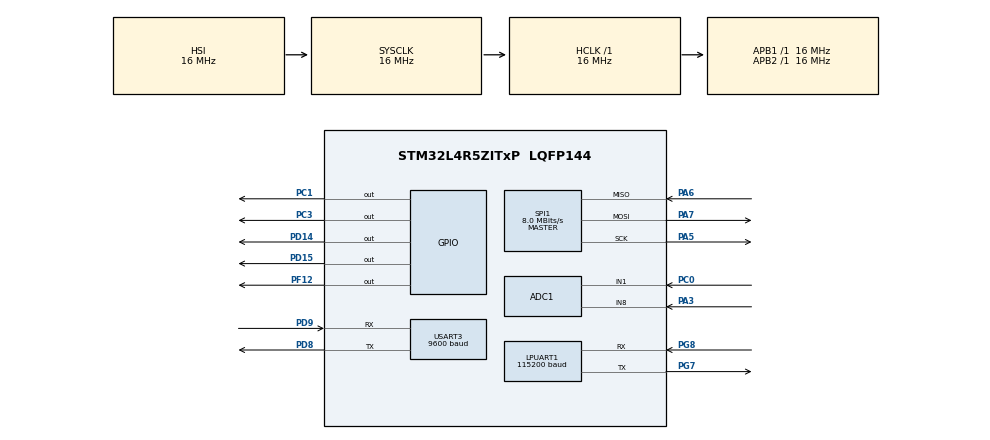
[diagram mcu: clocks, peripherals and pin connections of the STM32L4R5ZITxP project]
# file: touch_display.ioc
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ADC1.Channel-0\#ChannelRegularConversion=ADC_CHANNEL_1
ADC1.ClockPrescaler=ADC_CLOCK_ASYNC_DIV8
ADC1.DMAContinuousRequests=DISABLE
ADC1.NbrOfConversion=1
ADC1.NbrOfConversionFlag=1
ADC1.OffsetNumber-0\#ChannelRegularConversion=ADC_OFFSET_NONE
ADC1.Rank-0\#ChannelRegularConversion=1
ADC1.SamplingTime-0\#ChannelRegularConversion=ADC_SAMPLETIME_47CYCLES_5
ADC1.master=1
LPUART1.BaudRate=115200
LPUART1.WordLength=UART_WORDLENGTH_8B
Mcu.Family=STM32L4
Mcu.Name=STM32L4R5ZITxP
Mcu.Package=LQFP144
NVIC.PriorityGroup=NVIC_PRIORITYGROUP_4
PA0.Signal=S_TIM2_CH1
PA1.Signal=ADCx_IN6
PA10.Signal=USB_OTG_FS_ID
PA13\ (JTMS/SWDIO).Signal=SYS_JTMS-SWDIO
PA14\ (JTCK/SWCLK).Signal=SYS_JTCK-SWCLK
PA3.Signal=ADCx_IN8
PA4.Signal=SPI1_NSS
PA5.Mode=Full_Duplex_Master
PA5.Signal=SPI1_SCK
PA6.Mode=Full_Duplex_Master
PA6.Signal=SPI1_MISO
PA7.Mode=Full_Duplex_Master
PA7.Signal=SPI1_MOSI
PA8.Signal=USB_OTG_FS_SOF
PA9.Signal=USB_OTG_FS_VBUS
PB0.Signal=S_TIM3_CH3
PB1.Signal=ADCx_IN16
PB10.Signal=S_TIM2_CH3
PB12.Signal=SAI2_FS_A
PB13.Signal=SAI2_SCK_A
PB14.Signal=S_TIM15_CH1
PB15.Signal=SAI2_SD_A
PB2.Signal=COMP1_INP
PB3\ (JTDO/TRACESWO).Signal=SPI3_SCK
PB4\ (NJTRST).Signal=SPI3_MISO
PB5.Signal=SPI3_MOSI
PB6.Signal=COMP2_INP
PB8.Signal=I2C1_SCL
PB9.Signal=I2C1_SDA
PC0.Signal=ADCx_IN1
PC1.Signal=GPIO_Output
PC10.Signal=SDMMC1_D2
PC11.Signal=SDMMC1_D3
PC12.Signal=SDMMC1_CK
PC13.Signal=SYS_WKUP2
PC14-OSC32_IN\ (PC14).Signal=RCC_OSC32_IN
PC15-OSC32_OUT\ (PC15).Signal=RCC_OSC32_OUT
PC2.Signal=ADCx_IN3
PC3.Signal=GPIO_Output
PC4.Signal=ADCx_IN13
PC5.Signal=ADCx_IN14
PC6.Signal=SAI2_MCLK_A
PC7.Signal=S_TIM3_CH2
PC8.Signal=SDMMC1_D0
PC9.Signal=SDMMC1_D1
PD0.Signal=CAN1_RX
PD14.GPIO_PuPd=GPIO_NOPULL
PD14.PinState=GPIO_PIN_SET
PD14.Signal=GPIO_Output
PD15.PinState=GPIO_PIN_SET
PD15.Signal=GPIO_Output
PD2.Signal=SDMMC1_CMD
PD3.Signal=USART2_CTS
PD4.Signal=USART2_RTS
PD5.Signal=USART2_TX
PD6.Signal=USART2_RX
PD8.Mode=Asynchronous
PD8.Signal=USART3_TX
PD9.Mode=Asynchronous
PD9.Signal=USART3_RX
PE0.Signal=S_TIM4_ETR
PE10.Signal=TIM1_CH2N
PE11.Signal=S_TIM1_CH2
PE12.Signal=TIM1_CH3N
PE13.Signal=S_TIM1_CH3
PE14.Signal=TIM1_BKIN2
PE15.Signal=TIM1_BKIN
PE2.Signal=SAI1_MCLK_A
PE3.Signal=SAI1_SD_B
PE7.Signal=S_TIM1_ETR
PE8.Signal=TIM1_CH1N
PE9.Signal=S_TIM1_CH1
PF0.Signal=I2C2_SDA
PF1.Signal=I2C2_SCL
PF12.PinState=GPIO_PIN_SET
PF12.Signal=GPIO_Output
PF2.Signal=I2C2_SMBA
PF7.Signal=SAI1_MCLK_B
PG7.Mode=Asynchronous
PG7.Signal=LPUART1_TX
PG8.Mode=Asynchronous
PG8.Signal=LPUART1_RX
PH0-OSC_IN\ (PH0).Signal=RCC_OSC_IN
PH1-OSC_OUT\ (PH1).Signal=RCC_OSC_OUT
ProjectManager.HeapSize=0x200
ProjectManager.StackSize=0x400
ProjectManager.TargetToolchain=STM32CubeIDE
RCC.ADCFreq_Value=32000000
RCC.AHBFreq_Value=16000000
RCC.APB1Freq_Value=16000000
RCC.APB1TimFreq_Value=16000000
RCC.APB2Freq_Value=16000000
RCC.APB2TimFreq_Value=16000000
RCC.CortexFreq_Value=16000000
RCC.HCLKFreq_Value=16000000
RCC.HSE_VALUE=8000000
RCC.HSI48_VALUE=48000000
RCC.HSI_VALUE=16000000
RCC.LSE_VALUE=32768
RCC.MSI_VALUE=4000000
RCC.PLLSAI1N=16
RCC.SYSCLKFreq_VALUE=16000000
RCC.SYSCLKSource=RCC_SYSCLKSOURCE_HSI
RCC.USBFreq_Value=32000000
RCC.VCOOutputFreq_Value=32000000
SH.ADCx_IN1.0=ADC1_IN1,IN1-Single-Ended
SH.ADCx_IN13.0=ADC1_IN13
SH.ADCx_IN14.0=ADC1_IN14
SH.ADCx_IN16.0=ADC1_IN16
SH.ADCx_IN3.0=ADC1_IN3
SH.ADCx_IN6.0=ADC1_IN6
SH.ADCx_IN8.0=ADC1_IN8,IN8-Single-Ended
SH.S_TIM15_CH1.0=TIM15_CH1
SH.S_TIM1_CH1.0=TIM1_CH1
SH.S_TIM1_CH2.0=TIM1_CH2
SH.S_TIM1_CH3.0=TIM1_CH3
SH.S_TIM1_ETR.0=TIM1_ETR
SH.S_TIM2_CH1.0=TIM2_CH1
SH.S_TIM2_CH3.0=TIM2_CH3
SH.S_TIM3_CH2.0=TIM3_CH2
SH.S_TIM3_CH3.0=TIM3_CH3
SH.S_TIM4_ETR.0=TIM4_ETR
SPI1.BaudRatePrescaler=SPI_BAUDRATEPRESCALER_2
SPI1.CalculateBaudRate=8.0 MBits/s
SPI1.DataSize=SPI_DATASIZE_8BIT
SPI1.Direction=SPI_DIRECTION_2LINES
SPI1.Mode=SPI_MODE_MASTER
SPI1.VirtualType=VM_MASTER
USART3.BaudRate=9600
USART3.VirtualMode-Asynchronous=VM_ASYNC
board=NUCLEO-L4R5ZI-P

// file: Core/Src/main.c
/* USER CODE BEGIN Header */
/**
 ******************************************************************************
 * @file           : main.c
 * @brief          : Main program body
 ******************************************************************************
 * @attention
 *
 * Copyright (c) 2024 STMicroelectronics.
 * All rights reserved.
 *
 * This software is licensed under terms that can be found in the LICENSE file
 * in the root directory of this software component.
 * If no LICENSE file comes with this software, it is provided AS-IS.
 *
 ******************************************************************************
 */
/* USER CODE END Header */
#include "main.h"
#include "hx8357_stm32.h"
#include "stdio.h"
#include "touch.h"
#include "xbee.h"
#include <stdbool.h>

ADC_HandleTypeDef hadc1;

UART_HandleTypeDef hlpuart1;
UART_HandleTypeDef huart3;

SPI_HandleTypeDef hspi1;

void SystemClock_Config(void);
static void MX_GPIO_Init(void);
static void MX_SPI1_Init(void);
static void MX_LPUART1_UART_Init(void);
static void MX_ADC1_Init(void);
static void MX_USART3_UART_Init(void);
/* USER CODE BEGIN PFP */
Touch_Calibration touch_cal;
Zumo_Calibration zumo_cal;
/* USER CODE END PFP */

int main(void)
{

    /* MCU Configuration--------------------------------------------------------*/

    /* Reset of all peripherals, Initializes the Flash interface and the Systick. */
    HAL_Init();

    /* Configure the system clock */
    SystemClock_Config();

    /* Initialize all configured peripherals */
    MX_GPIO_Init();
    MX_SPI1_Init();
    MX_LPUART1_UART_Init();
    MX_ADC1_Init();
    MX_USART3_UART_Init();
    /* USER CODE BEGIN 2 */
    bool robot_draw = true; // Toggle between accurate LCD and what robot will draw
    HX8357_HandleTypeDef display = {
        .hspi = &hspi1,
        .cs_port = GPIOD,
        .cs_pin = GPIO_PIN_14,
        .dc_port = GPIOD,
        .dc_pin = GPIO_PIN_15,
        .rst_port = GPIOF,
        .rst_pin = GPIO_PIN_12,
        .orientation = HX8357_LANDSCAPE,
    };

    if (HX8357_Init(&display) != HX8357_OK) {
        Error_Handler();
    }

    Touch_Init(&hadc1);
    Touch_CalibrateInit(&touch_cal);
    Zumo_CalibrateInit(&zumo_cal);

    ClearButton clear_btn = {.x = display.width - 55, // 55px from top
                             .y = 10,                 // 10px right
                             .size = 50,              // 50x50 square button
                             .color = BLUE,
                             .border_color = WHITE};
    Draw_ClearButton(&display, &clear_btn);

    ToggleButton toggle_btn = {.x = display.width - 55,  // 55px from top
                               .y = display.height - 55, // 55px from bottom
                               .size = 50,               // 50x50 square button
                               .color = WHITE,
                               .border_color = BLACK};
    Draw_ToggleButton(&display, &toggle_btn, robot_draw);
    /* USER CODE END 2 */

    /* Infinite loop */
    /* USER CODE BEGIN WHILE */
    int reset_count = 0;
    while (1) {
        TouchEvent event = Touch_Read();
        reset_count += 1;

        if (event.touched) {
            uint16_t display_x, display_y;

            Touch_MapCoordinates(&touch_cal, event.x, event.y, &display_x, &display_y);

            if (Is_ClearButtonPressed(&clear_btn, display_x, display_y)) {
                HX8357_Grid(&display);
                Draw_ClearButton(&display, &clear_btn);
                Draw_ToggleButton(&display, &toggle_btn, robot_draw);
                touch_cal.first_point = 1;
            } else if (Is_ToggleButtonPressed(&toggle_btn, display_x, display_y)) {
                robot_draw = !robot_draw;
                Draw_ToggleButton(&display, &toggle_btn, robot_draw);
                touch_cal.first_point = 1;
            } else {
                Touch_DrawHandler(&display, &touch_cal, &zumo_cal, &huart3, event, robot_draw);
            }
            reset_count = 0;
            printf("Touch at X: %d, Y: %d, Pressure: %.2f\r\n", event.x, event.y, event.pressure);
        }

        if (reset_count > 25) {
            Touch_ResetLine(&touch_cal);
            Zumo_ResetLine(&zumo_cal);
        }

        HAL_Delay(1);
        /* USER CODE END WHILE */

    }
}

void SystemClock_Config(void)
{
    RCC_OscInitTypeDef RCC_OscInitStruct = {0};
    RCC_ClkInitTypeDef RCC_ClkInitStruct = {0};

    /** Configure the main internal regulator output voltage
     */
    if (HAL_PWREx_ControlVoltageScaling(PWR_REGULATOR_VOLTAGE_SCALE1) != HAL_OK) {
        Error_Handler();
    }

    /** Initializes the RCC Oscillators according to the specified parameters
     * in the RCC_OscInitTypeDef structure.
     */
    RCC_OscInitStruct.OscillatorType = RCC_OSCILLATORTYPE_HSI | RCC_OSCILLATORTYPE_MSI;
    RCC_OscInitStruct.HSIState = RCC_HSI_ON;
    RCC_OscInitStruct.HSICalibrationValue = RCC_HSICALIBRATION_DEFAULT;
    RCC_OscInitStruct.MSIState = RCC_MSI_ON;
    RCC_OscInitStruct.MSICalibrationValue = 0;
    RCC_OscInitStruct.MSIClockRange = RCC_MSIRANGE_6;
    RCC_OscInitStruct.PLL.PLLState = RCC_PLL_NONE;
    if (HAL_RCC_OscConfig(&RCC_OscInitStruct) != HAL_OK) {
        Error_Handler();
    }

    /** Initializes the CPU, AHB and APB buses clocks
     */
    RCC_ClkInitStruct.ClockType =
        RCC_CLOCKTYPE_HCLK | RCC_CLOCKTYPE_SYSCLK | RCC_CLOCKTYPE_PCLK1 | RCC_CLOCKTYPE_PCLK2;
    RCC_ClkInitStruct.SYSCLKSource = RCC_SYSCLKSOURCE_HSI;
    RCC_ClkInitStruct.AHBCLKDivider = RCC_SYSCLK_DIV1;
    RCC_ClkInitStruct.APB1CLKDivider = RCC_HCLK_DIV1;
    RCC_ClkInitStruct.APB2CLKDivider = RCC_HCLK_DIV1;

    if (HAL_RCC_ClockConfig(&RCC_ClkInitStruct, FLASH_LATENCY_0) != HAL_OK) {
        Error_Handler();
    }
}

static void MX_ADC1_Init(void)
{

    ADC_ChannelConfTypeDef sConfig = {0};

    /** Common config
     */
    hadc1.Instance = ADC1;
    hadc1.Init.ClockPrescaler = ADC_CLOCK_ASYNC_DIV8;
    hadc1.Init.Resolution = ADC_RESOLUTION_12B;
    hadc1.Init.DataAlign = ADC_DATAALIGN_RIGHT;
    hadc1.Init.ScanConvMode = ADC_SCAN_DISABLE;
    hadc1.Init.EOCSelection = ADC_EOC_SINGLE_CONV;
    hadc1.Init.LowPowerAutoWait = DISABLE;
    hadc1.Init.ContinuousConvMode = DISABLE;
    hadc1.Init.NbrOfConversion = 1;
    hadc1.Init.DiscontinuousConvMode = DISABLE;
    hadc1.Init.ExternalTrigConv = ADC_SOFTWARE_START;
    hadc1.Init.ExternalTrigConvEdge = ADC_EXTERNALTRIGCONVEDGE_NONE;
    hadc1.Init.DMAContinuousRequests = DISABLE;
    hadc1.Init.Overrun = ADC_OVR_DATA_PRESERVED;
    hadc1.Init.OversamplingMode = DISABLE;
    if (HAL_ADC_Init(&hadc1) != HAL_OK) {
        Error_Handler();
    }

    /** Configure Regular Channel
     */
    sConfig.Channel = ADC_CHANNEL_1;
    sConfig.Rank = ADC_REGULAR_RANK_1;
    sConfig.SamplingTime = ADC_SAMPLETIME_47CYCLES_5;
    sConfig.SingleDiff = ADC_SINGLE_ENDED;
    sConfig.OffsetNumber = ADC_OFFSET_NONE;
    sConfig.Offset = 0;
    if (HAL_ADC_ConfigChannel(&hadc1, &sConfig) != HAL_OK) {
        Error_Handler();
    }
}

static void MX_LPUART1_UART_Init(void)
{

    hlpuart1.Instance = LPUART1;
    hlpuart1.Init.BaudRate = 115200;
    hlpuart1.Init.WordLength = UART_WORDLENGTH_8B;
    hlpuart1.Init.StopBits = UART_STOPBITS_1;
    hlpuart1.Init.Parity = UART_PARITY_NONE;
    hlpuart1.Init.Mode = UART_MODE_TX_RX;
    hlpuart1.Init.HwFlowCtl = UART_HWCONTROL_NONE;
    hlpuart1.Init.OneBitSampling = UART_ONE_BIT_SAMPLE_DISABLE;
    hlpuart1.Init.ClockPrescaler = UART_PRESCALER_DIV1;
    hlpuart1.AdvancedInit.AdvFeatureInit = UART_ADVFEATURE_NO_INIT;
    hlpuart1.FifoMode = UART_FIFOMODE_DISABLE;
    if (HAL_UART_Init(&hlpuart1) != HAL_OK) {
        Error_Handler();
    }
    if (HAL_UARTEx_SetTxFifoThreshold(&hlpuart1, UART_TXFIFO_THRESHOLD_1_8) != HAL_OK) {
        Error_Handler();
    }
    if (HAL_UARTEx_SetRxFifoThreshold(&hlpuart1, UART_RXFIFO_THRESHOLD_1_8) != HAL_OK) {
        Error_Handler();
    }
    if (HAL_UARTEx_DisableFifoMode(&hlpuart1) != HAL_OK) {
        Error_Handler();
    }
}

static void MX_USART3_UART_Init(void)
{

    huart3.Instance = USART3;
    huart3.Init.BaudRate = 9600;
    huart3.Init.WordLength = UART_WORDLENGTH_8B;
    huart3.Init.StopBits = UART_STOPBITS_1;
    huart3.Init.Parity = UART_PARITY_NONE;
    huart3.Init.Mode = UART_MODE_TX_RX;
    huart3.Init.HwFlowCtl = UART_HWCONTROL_NONE;
    huart3.Init.OverSampling = UART_OVERSAMPLING_16;
    huart3.Init.OneBitSampling = UART_ONE_BIT_SAMPLE_DISABLE;
    huart3.Init.ClockPrescaler = UART_PRESCALER_DIV1;
    huart3.AdvancedInit.AdvFeatureInit = UART_ADVFEATURE_NO_INIT;
    if (HAL_UART_Init(&huart3) != HAL_OK) {
        Error_Handler();
    }
    if (HAL_UARTEx_SetTxFifoThreshold(&huart3, UART_TXFIFO_THRESHOLD_1_8) != HAL_OK) {
        Error_Handler();
    }
    if (HAL_UARTEx_SetRxFifoThreshold(&huart3, UART_RXFIFO_THRESHOLD_1_8) != HAL_OK) {
        Error_Handler();
    }
    if (HAL_UARTEx_DisableFifoMode(&huart3) != HAL_OK) {
        Error_Handler();
    }
}

static void MX_SPI1_Init(void)
{

    /* SPI1 parameter configuration*/
    hspi1.Instance = SPI1;
    hspi1.Init.Mode = SPI_MODE_MASTER;
    hspi1.Init.Direction = SPI_DIRECTION_2LINES;
    hspi1.Init.DataSize = SPI_DATASIZE_8BIT;
    hspi1.Init.CLKPolarity = SPI_POLARITY_LOW;
    hspi1.Init.CLKPhase = SPI_PHASE_1EDGE;
    hspi1.Init.NSS = SPI_NSS_SOFT;
    hspi1.Init.BaudRatePrescaler = SPI_BAUDRATEPRESCALER_2;
    hspi1.Init.FirstBit = SPI_FIRSTBIT_MSB;
    hspi1.Init.TIMode = SPI_TIMODE_DISABLE;
    hspi1.Init.CRCCalculation = SPI_CRCCALCULATION_DISABLE;
    hspi1.Init.CRCPolynomial = 7;
    hspi1.Init.CRCLength = SPI_CRC_LENGTH_DATASIZE;
    hspi1.Init.NSSPMode = SPI_NSS_PULSE_ENABLE;
    if (HAL_SPI_Init(&hspi1) != HAL_OK) {
        Error_Handler();
    }
}

static void MX_GPIO_Init(void)
{
    GPIO_InitTypeDef GPIO_InitStruct = {0};

    /* GPIO Ports Clock Enable */
    __HAL_RCC_GPIOE_CLK_ENABLE();
    __HAL_RCC_GPIOC_CLK_ENABLE();
    __HAL_RCC_GPIOF_CLK_ENABLE();
    __HAL_RCC_GPIOH_CLK_ENABLE();
    __HAL_RCC_GPIOA_CLK_ENABLE();
    __HAL_RCC_GPIOB_CLK_ENABLE();
    __HAL_RCC_GPIOD_CLK_ENABLE();
    __HAL_RCC_GPIOG_CLK_ENABLE();
    HAL_PWREx_EnableVddIO2();

    /*Configure GPIO pin Output Level */
    HAL_GPIO_WritePin(GPIOC, GPIO_PIN_1 | GPIO_PIN_3, GPIO_PIN_RESET);

    /*Configure GPIO pin Output Level */
    HAL_GPIO_WritePin(GPIOF, GPIO_PIN_12, GPIO_PIN_SET);

    /*Configure GPIO pin Output Level */
    HAL_GPIO_WritePin(GPIOD, GPIO_PIN_14 | GPIO_PIN_15, GPIO_PIN_SET);

    /*Configure GPIO pins : PE2 PE3 */
    GPIO_InitStruct.Pin = GPIO_PIN_2 | GPIO_PIN_3;
    GPIO_InitStruct.Mode = GPIO_MODE_AF_PP;
    GPIO_InitStruct.Pull = GPIO_NOPULL;
    GPIO_InitStruct.Speed = GPIO_SPEED_FREQ_LOW;
    GPIO_InitStruct.Alternate = GPIO_AF13_SAI1;
    HAL_GPIO_Init(GPIOE, &GPIO_InitStruct);

    /*Configure GPIO pins : PF0 PF1 PF2 */
    GPIO_InitStruct.Pin = GPIO_PIN_0 | GPIO_PIN_1 | GPIO_PIN_2;
    GPIO_InitStruct.Mode = GPIO_MODE_AF_OD;
    GPIO_InitStruct.Pull = GPIO_NOPULL;
    GPIO_InitStruct.Speed = GPIO_SPEED_FREQ_VERY_HIGH;
    GPIO_InitStruct.Alternate = GPIO_AF4_I2C2;
    HAL_GPIO_Init(GPIOF, &GPIO_InitStruct);

    /*Configure GPIO pin : PF7 */
    GPIO_InitStruct.Pin = GPIO_PIN_7;
    GPIO_InitStruct.Mode = GPIO_MODE_AF_PP;
    GPIO_InitStruct.Pull = GPIO_NOPULL;
    GPIO_InitStruct.Speed = GPIO_SPEED_FREQ_LOW;
    GPIO_InitStruct.Alternate = GPIO_AF13_SAI1;
    HAL_GPIO_Init(GPIOF, &GPIO_InitStruct);

    /*Configure GPIO pins : PC1 PC3 */
    GPIO_InitStruct.Pin = GPIO_PIN_1 | GPIO_PIN_3;
    GPIO_InitStruct.Mode = GPIO_MODE_OUTPUT_PP;
    GPIO_InitStruct.Pull = GPIO_NOPULL;
    GPIO_InitStruct.Speed = GPIO_SPEED_FREQ_LOW;
    HAL_GPIO_Init(GPIOC, &GPIO_InitStruct);

    /*Configure GPIO pin : PA0 */
    GPIO_InitStruct.Pin = GPIO_PIN_0;
    GPIO_InitStruct.Mode = GPIO_MODE_AF_PP;
    GPIO_InitStruct.Pull = GPIO_NOPULL;
    GPIO_InitStruct.Speed = GPIO_SPEED_FREQ_LOW;
    GPIO_InitStruct.Alternate = GPIO_AF1_TIM2;
    HAL_GPIO_Init(GPIOA, &GPIO_InitStruct);

    /*Configure GPIO pin : PB0 */
    GPIO_InitStruct.Pin = GPIO_PIN_0;
    GPIO_InitStruct.Mode = GPIO_MODE_AF_PP;
    GPIO_InitStruct.Pull = GPIO_NOPULL;
    GPIO_InitStruct.Speed = GPIO_SPEED_FREQ_LOW;
    GPIO_InitStruct.Alternate = GPIO_AF2_TIM3;
    HAL_GPIO_Init(GPIOB, &GPIO_InitStruct);

    /*Configure GPIO pins : PB2 PB6 */
    GPIO_InitStruct.Pin = GPIO_PIN_2 | GPIO_PIN_6;
    GPIO_InitStruct.Mode = GPIO_MODE_ANALOG;
    GPIO_InitStruct.Pull = GPIO_NOPULL;
    HAL_GPIO_Init(GPIOB, &GPIO_InitStruct);

    /*Configure GPIO pin : PF12 */
    GPIO_InitStruct.Pin = GPIO_PIN_12;
    GPIO_InitStruct.Mode = GPIO_MODE_OUTPUT_PP;
    GPIO_InitStruct.Pull = GPIO_NOPULL;
    GPIO_InitStruct.Speed = GPIO_SPEED_FREQ_LOW;
    HAL_GPIO_Init(GPIOF, &GPIO_InitStruct);

    /*Configure GPIO pins : PE7 PE8 PE9 PE10
                             PE11 PE12 PE13 */
    GPIO_InitStruct.Pin = GPIO_PIN_7 | GPIO_PIN_8 | GPIO_PIN_9 | GPIO_PIN_10 | GPIO_PIN_11 |
                          GPIO_PIN_12 | GPIO_PIN_13;
    GPIO_InitStruct.Mode = GPIO_MODE_AF_PP;
    GPIO_InitStruct.Pull = GPIO_NOPULL;
    GPIO_InitStruct.Speed = GPIO_SPEED_FREQ_LOW;
    GPIO_InitStruct.Alternate = GPIO_AF1_TIM1;
    HAL_GPIO_Init(GPIOE, &GPIO_InitStruct);

    /*Configure GPIO pins : PE14 PE15 */
    GPIO_InitStruct.Pin = GPIO_PIN_14 | GPIO_PIN_15;
    GPIO_InitStruct.Mode = GPIO_MODE_AF_PP;
    GPIO_InitStruct.Pull = GPIO_NOPULL;
    GPIO_InitStruct.Speed = GPIO_SPEED_FREQ_LOW;
    GPIO_InitStruct.Alternate = GPIO_AF3_TIM1_COMP1;
    HAL_GPIO_Init(GPIOE, &GPIO_InitStruct);

    /*Configure GPIO pin : PB10 */
    GPIO_InitStruct.Pin = GPIO_PIN_10;
    GPIO_InitStruct.Mode = GPIO_MODE_AF_PP;
    GPIO_InitStruct.Pull = GPIO_NOPULL;
    GPIO_InitStruct.Speed = GPIO_SPEED_FREQ_LOW;
    GPIO_InitStruct.Alternate = GPIO_AF1_TIM2;
    HAL_GPIO_Init(GPIOB, &GPIO_InitStruct);

    /*Configure GPIO pins : PB12 PB13 PB15 */
    GPIO_InitStruct.Pin = GPIO_PIN_12 | GPIO_PIN_13 | GPIO_PIN_15;
    GPIO_InitStruct.Mode = GPIO_MODE_AF_PP;
    GPIO_InitStruct.Pull = GPIO_NOPULL;
    GPIO_InitStruct.Speed = GPIO_SPEED_FREQ_LOW;
    GPIO_InitStruct.Alternate = GPIO_AF13_SAI2;
    HAL_GPIO_Init(GPIOB, &GPIO_InitStruct);

    /*Configure GPIO pin : PB14 */
    GPIO_InitStruct.Pin = GPIO_PIN_14;
    GPIO_InitStruct.Mode = GPIO_MODE_AF_PP;
    GPIO_InitStruct.Pull = GPIO_NOPULL;
    GPIO_InitStruct.Speed = GPIO_SPEED_FREQ_LOW;
    GPIO_InitStruct.Alternate = GPIO_AF14_TIM15;
    HAL_GPIO_Init(GPIOB, &GPIO_InitStruct);

    /*Configure GPIO pins : PD14 PD15 */
    GPIO_InitStruct.Pin = GPIO_PIN_14 | GPIO_PIN_15;
    GPIO_InitStruct.Mode = GPIO_MODE_OUTPUT_PP;
    GPIO_InitStruct.Pull = GPIO_NOPULL;
    GPIO_InitStruct.Speed = GPIO_SPEED_FREQ_LOW;
    HAL_GPIO_Init(GPIOD, &GPIO_InitStruct);

    /*Configure GPIO pin : PC6 */
    GPIO_InitStruct.Pin = GPIO_PIN_6;
    GPIO_InitStruct.Mode = GPIO_MODE_AF_PP;
    GPIO_InitStruct.Pull = GPIO_NOPULL;
    GPIO_InitStruct.Speed = GPIO_SPEED_FREQ_LOW;
    GPIO_InitStruct.Alternate = GPIO_AF13_SAI2;
    HAL_GPIO_Init(GPIOC, &GPIO_InitStruct);

    /*Configure GPIO pin : PC7 */
    GPIO_InitStruct.Pin = GPIO_PIN_7;
    GPIO_InitStruct.Mode = GPIO_MODE_AF_PP;
    GPIO_InitStruct.Pull = GPIO_NOPULL;
    GPIO_InitStruct.Speed = GPIO_SPEED_FREQ_LOW;
    GPIO_InitStruct.Alternate = GPIO_AF2_TIM3;
    HAL_GPIO_Init(GPIOC, &GPIO_InitStruct);

    /*Configure GPIO pins : PC8 PC9 PC10 PC11
                             PC12 */
    GPIO_InitStruct.Pin = GPIO_PIN_8 | GPIO_PIN_9 | GPIO_PIN_10 | GPIO_PIN_11 | GPIO_PIN_12;
    GPIO_InitStruct.Mode = GPIO_MODE_AF_PP;
    GPIO_InitStruct.Pull = GPIO_NOPULL;
    GPIO_InitStruct.Speed = GPIO_SPEED_FREQ_VERY_HIGH;
    GPIO_InitStruct.Alternate = GPIO_AF12_SDMMC1;
    HAL_GPIO_Init(GPIOC, &GPIO_InitStruct);

    /*Configure GPIO pins : PA8 PA10 */
    GPIO_InitStruct.Pin = GPIO_PIN_8 | GPIO_PIN_10;
    GPIO_InitStruct.Mode = GPIO_MODE_AF_PP;
    GPIO_InitStruct.Pull = GPIO_NOPULL;
    GPIO_InitStruct.Speed = GPIO_SPEED_FREQ_VERY_HIGH;
    GPIO_InitStruct.Alternate = GPIO_AF10_OTG_FS;
    HAL_GPIO_Init(GPIOA, &GPIO_InitStruct);

    /*Configure GPIO pin : PA9 */
    GPIO_InitStruct.Pin = GPIO_PIN_9;
    GPIO_InitStruct.Mode = GPIO_MODE_INPUT;
    GPIO_InitStruct.Pull = GPIO_NOPULL;
    HAL_GPIO_Init(GPIOA, &GPIO_InitStruct);

    /*Configure GPIO pin : PD0 */
    GPIO_InitStruct.Pin = GPIO_PIN_0;
    GPIO_InitStruct.Mode = GPIO_MODE_AF_PP;
    GPIO_InitStruct.Pull = GPIO_NOPULL;
    GPIO_InitStruct.Speed = GPIO_SPEED_FREQ_VERY_HIGH;
    GPIO_InitStruct.Alternate = GPIO_AF9_CAN1;
    HAL_GPIO_Init(GPIOD, &GPIO_InitStruct);

    /*Configure GPIO pin : PD2 */
    GPIO_InitStruct.Pin = GPIO_PIN_2;
    GPIO_InitStruct.Mode = GPIO_MODE_AF_PP;
    GPIO_InitStruct.Pull = GPIO_NOPULL;
    GPIO_InitStruct.Speed = GPIO_SPEED_FREQ_VERY_HIGH;
    GPIO_InitStruct.Alternate = GPIO_AF12_SDMMC1;
    HAL_GPIO_Init(GPIOD, &GPIO_InitStruct);

    /*Configure GPIO pins : PD3 PD4 PD5 PD6 */
    GPIO_InitStruct.Pin = GPIO_PIN_3 | GPIO_PIN_4 | GPIO_PIN_5 | GPIO_PIN_6;
    GPIO_InitStruct.Mode = GPIO_MODE_AF_PP;
    GPIO_InitStruct.Pull = GPIO_NOPULL;
    GPIO_InitStruct.Speed = GPIO_SPEED_FREQ_VERY_HIGH;
    GPIO_InitStruct.Alternate = GPIO_AF7_USART2;
    HAL_GPIO_Init(GPIOD, &GPIO_InitStruct);

    /*Configure GPIO pins : PB3 PB4 PB5 */
    GPIO_InitStruct.Pin = GPIO_PIN_3 | GPIO_PIN_4 | GPIO_PIN_5;
    GPIO_InitStruct.Mode = GPIO_MODE_AF_PP;
    GPIO_InitStruct.Pull = GPIO_NOPULL;
    GPIO_InitStruct.Speed = GPIO_SPEED_FREQ_VERY_HIGH;
    GPIO_InitStruct.Alternate = GPIO_AF6_SPI3;
    HAL_GPIO_Init(GPIOB, &GPIO_InitStruct);

    /*Configure GPIO pins : PB8 PB9 */
    GPIO_InitStruct.Pin = GPIO_PIN_8 | GPIO_PIN_9;
    GPIO_InitStruct.Mode = GPIO_MODE_AF_OD;
    GPIO_InitStruct.Pull = GPIO_NOPULL;
    GPIO_InitStruct.Speed = GPIO_SPEED_FREQ_VERY_HIGH;
    GPIO_InitStruct.Alternate = GPIO_AF4_I2C1;
    HAL_GPIO_Init(GPIOB, &GPIO_InitStruct);

    /*Configure GPIO pin : PE0 */
    GPIO_InitStruct.Pin = GPIO_PIN_0;
    GPIO_InitStruct.Mode = GPIO_MODE_AF_PP;
    GPIO_InitStruct.Pull = GPIO_NOPULL;
    GPIO_InitStruct.Speed = GPIO_SPEED_FREQ_LOW;
    GPIO_InitStruct.Alternate = GPIO_AF2_TIM4;
    HAL_GPIO_Init(GPIOE, &GPIO_InitStruct);

}

/* USER CODE BEGIN 4 */
// for uart debugging
#ifdef __GNUC__
#define PUTCHAR_PROTOTYPE int __io_putchar(int ch)
#else
#define PUTCHAR_PROTOTYPE int fputc(int ch, FILE *f)
#endif /* __GNUC__ */
PUTCHAR_PROTOTYPE
{
    HAL_UART_Transmit(&hlpuart1, (uint8_t *)&ch, 1, 0xFFFF);
    return ch;
}

/* USER CODE END 4 */

void Error_Handler(void)
{
    __disable_irq();
    while (1) {
    }
}
